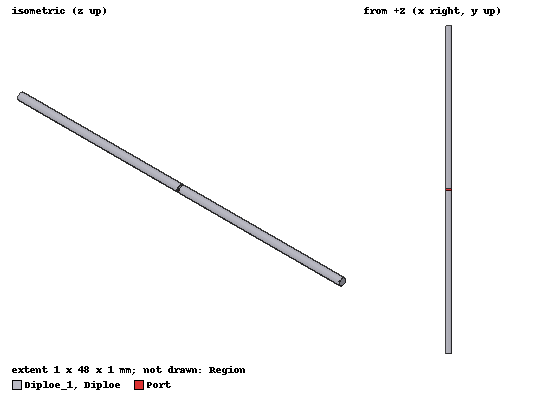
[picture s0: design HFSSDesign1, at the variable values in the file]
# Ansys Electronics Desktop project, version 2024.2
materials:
  vacuum: permittivity=1
  copper: permeability=0.999991 conductivity=58000000
  pec: conductivity=1e+30
  air: permittivity=1.0006 permeability=1.0000004

design HFSSDesign1 (HFSS, HFSS Modal Network, model units mm)
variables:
  lambda = 100mm
  gap = 0.24mm
  length = 0.48*lambda
  dip_length = length/2-gap/2
  dip_radius = lambda/200
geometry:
  Diploe [pec] = cylinder(axis=Y, base_centre=(0mm, gap/2, 0mm), radius=dip_radius, height=dip_length)
  Diploe_1 [pec] = Diploe.duplicate_around_axis(axis=X, angle=180deg, total=2)
  Port = rectangle(corner=(-dip_radius, -gap/2, 0mm), x_size=2*dip_radius, y_size=gap)
  Region [air] = region(absolute_offset=lambda/4 on all sides)
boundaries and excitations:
  Rad1: Radiation Objects=Region
  1: Lumped Port Objects=Port LumpedPortType=Modal Modes{Mode1{IntLine{(0mm, -100mm, 0mm) -> (0, 0.12, 0)} CharImp=Zpi}} Impedance=73.2ohm
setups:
  Setup1: HfssDriven Frequency=3GHz MaxDeltaS=0.02 MaximumPasses=20 MinimumPasses=1 MinimumConvergedPasses=1 PercentRefinement=30 BasisOrder=1 PortAccuracy=2 DrivenSolverType="Direct Solver"
    sweep Sweep: 2.5GHz to 3.5GHz, 1000 points; Type=Fast SaveFields
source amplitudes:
  1:1: 1W 0deg
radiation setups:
  E_plane: Infinite Sphere Theta=-180deg..180deg step 1deg Phi=0deg..0deg step 0deg
  antenna array: ParametricArray DesignFrequency=3GHz LayoutType=1 CenterCellX=0mm CenterCellY=0mm CenterCellZ=0mm WidthSpacing=50mm WidthSpacingInWavelength=0.50034614 Width=450mm WidthInWavelength=4.5031153 LengthSpacing=10mm LengthSpacingInWavelength=0.10006923 Length=10mm LengthInWavelength=0.10006923 SymmetryType=0 StaggerAngle=0deg StaggerType=0 UDirnX=1 UDirnY=0 UDirnZ=0 VDirnX=0 VDirnY=0 VDirnZ=1 WeightType=0 EdgeTaperX_db=-200 CosineExp=1 DifferentialType=0 Behavior=UsePhaseDifference ScanAnglePhi=45deg ScanAngleTheta=45deg UDirnPhaseShift=0deg VDirnPhaseShift=-90deg
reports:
  Gain Plot 1: GainTotal vs Theta on Setup1 : LastAdaptive, E_plane [Phi=all Freq=3GHz]
  Gain Plot 2: dB(GainTotal) vs Theta on Setup1 : LastAdaptive, E_plane [Phi=all Freq=3GHz]
